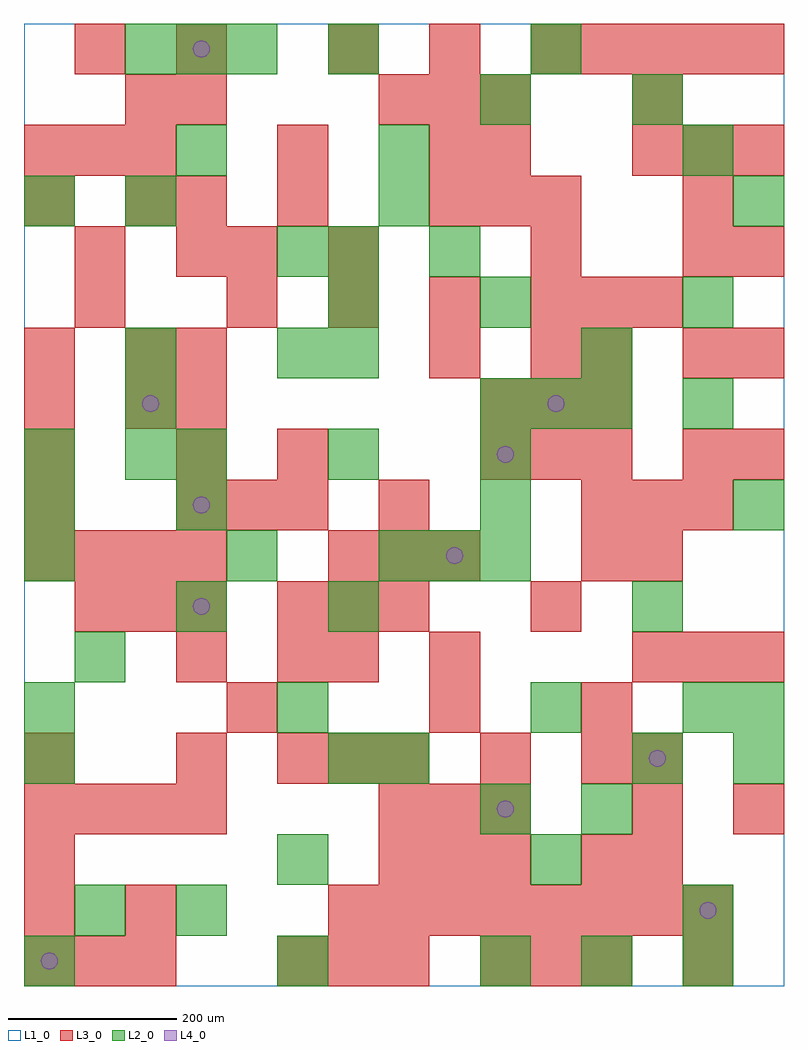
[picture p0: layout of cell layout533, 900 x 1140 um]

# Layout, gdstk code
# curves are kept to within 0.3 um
import gdstk
lib = gdstk.Library(unit=1e-6, precision=1e-09)
def R(c, l, rs):  # rectangles x0, y0, x1, y1
    for r in rs: c.add(gdstk.rectangle(r[:2], r[2:], *l))
def A(c, l, x, y, w, h, nx, ny, dx, dy):  # array of equal rectangles
    R(c, l, [(x+i*dx, y+j*dy, x+i*dx+w, y+j*dy+h) for i in range(nx) for j in range(ny)])
def P(c, l, *ps):  # polygons
    for p in ps: c.add(gdstk.Polygon(p, *l))
L1_0 = (1, 0)
L2_0 = (2, 0)
L3_0 = (3, 0)
L4_0 = (4, 0)

layout533 = lib.new_cell('layout533')
R(layout533, L1_0, [(0,0,900,1140)])
A(layout533, L2_0, 0, 0, 60, 60, 1, 3, 0, 240)
A(layout533, L2_0, 540, 0, 60, 60, 3, 1, 120, 0)
A(layout533, L2_0, 0, 300, 60, 60, 3, 1, 300, 0)
A(layout533, L2_0, 420, 480, 60, 60, 3, 1, 60, 0)
A(layout533, L2_0, 540, 540, 60, 60, 1, 3, 0, 240)
A(layout533, L2_0, 120, 600, 60, 60, 1, 3, 0, 60)
A(layout533, L2_0, 180, 600, 60, 60, 3, 1, 180, 0)
A(layout533, L2_0, 540, 660, 60, 60, 3, 1, 60, 0)
A(layout533, L2_0, 360, 720, 60, 60, 1, 3, 0, 60)
A(layout533, L2_0, 120, 1080, 60, 60, 3, 1, 60, 0)
R(layout533, L2_0, [(300,0,360,60), (60,60,120,120), (180,60,240,120), (780,60,840,120), (300,120,360,180), (600,120,660,180), (540,180,600,240), (660,180,720,240), (360,240,420,300), (420,240,480,300), (720,240,780,300), (840,240,900,300), (780,300,840,360), (840,300,900,360), (60,360,120,420), (180,420,240,480), (360,420,420,480), (720,420,780,480), (240,480,300,540), (0,540,60,600), (180,540,240,600), (840,540,900,600), (0,600,60,660), (780,660,840,720), (300,720,360,780), (660,720,720,780), (780,780,840,840), (300,840,360,900), (480,840,540,900), (0,900,60,960), (120,900,180,960), (420,900,480,960), (840,900,900,960), (180,960,240,1020), (420,960,480,1020), (780,960,840,1020), (720,1020,780,1080), (360,1080,420,1140), (600,1080,660,1140)])
A(layout533, L3_0, 0, 0, 60, 60, 3, 2, 60, 960)
A(layout533, L3_0, 300, 0, 60, 60, 3, 2, 60, 240)
A(layout533, L3_0, 540, 0, 60, 60, 3, 2, 60, 600)
A(layout533, L3_0, 360, 60, 60, 60, 8, 1, 60, 0)
A(layout533, L3_0, 420, 120, 60, 60, 3, 2, 60, 60)
A(layout533, L3_0, 720, 120, 60, 60, 1, 3, 0, 60)
A(layout533, L3_0, 0, 180, 60, 60, 4, 2, 60, 300)
A(layout533, L3_0, 720, 360, 60, 60, 3, 2, 60, 600)
A(layout533, L3_0, 60, 420, 60, 60, 3, 1, 60, 0)
A(layout533, L3_0, 300, 420, 60, 60, 3, 1, 60, 0)
A(layout533, L3_0, 360, 480, 60, 60, 3, 1, 60, 0)
A(layout533, L3_0, 0, 540, 60, 60, 1, 4, 0, 60)
A(layout533, L3_0, 180, 540, 60, 60, 3, 1, 60, 0)
A(layout533, L3_0, 660, 540, 60, 60, 3, 1, 60, 0)
A(layout533, L3_0, 180, 600, 60, 60, 1, 3, 0, 60)
A(layout533, L3_0, 780, 600, 60, 60, 1, 3, 0, 120)
A(layout533, L3_0, 840, 600, 60, 60, 1, 3, 0, 120)
A(layout533, L3_0, 540, 660, 60, 60, 3, 1, 60, 0)
A(layout533, L3_0, 240, 780, 60, 60, 4, 1, 120, 0)
A(layout533, L3_0, 480, 900, 60, 60, 3, 1, 60, 0)
A(layout533, L3_0, 420, 1020, 60, 60, 3, 1, 60, 0)
A(layout533, L3_0, 360, 1080, 60, 60, 3, 1, 120, 0)
A(layout533, L3_0, 660, 1080, 60, 60, 4, 1, 60, 0)
R(layout533, L3_0, [(780,0,840,60), (0,60,60,120), (120,60,180,120), (0,120,60,180), (660,120,720,180), (840,180,900,240), (0,240,60,300), (180,240,240,300), (540,240,600,300), (660,240,720,300), (240,300,300,360), (480,300,540,360), (660,300,720,360), (180,360,240,420), (300,360,360,420), (360,360,420,420), (480,360,540,420), (600,420,660,480), (660,480,720,540), (720,480,780,540), (420,540,480,600), (300,600,360,660), (120,660,180,720), (120,720,180,780), (480,720,540,780), (600,720,660,780), (660,720,720,780), (60,780,120,840), (660,780,720,840), (720,780,780,840), (60,840,120,900), (180,840,240,900), (240,840,300,900), (360,840,420,900), (600,840,660,900), (0,900,60,960), (120,900,180,960), (180,900,240,960), (300,900,360,960), (780,900,840,960), (300,960,360,1020), (480,960,540,1020), (540,960,600,1020), (120,1020,180,1080), (180,1020,240,1080), (720,1020,780,1080), (60,1080,120,1140), (180,1080,240,1140)])
P(layout533, L4_0, [(40,30),(39.239,33.827),(37.071,37.071),(33.827,39.239),(30,40),(26.173,39.239),(22.929,37.071),(20.761,33.827),(20,30),(20.761,26.173),(22.929,22.929),(26.173,20.761),(30,20),(33.827,20.761),(37.071,22.929),(39.239,26.173)],
  [(160,690),(159.239,693.827),(157.071,697.071),(153.827,699.239),(150,700),(146.173,699.239),(142.929,697.071),(140.761,693.827),(140,690),(140.761,686.173),(142.929,682.929),(146.173,680.761),(150,680),(153.827,680.761),(157.071,682.929),(159.239,686.173)],
  [(220,450),(219.239,453.827),(217.071,457.071),(213.827,459.239),(210,460),(206.173,459.239),(202.929,457.071),(200.761,453.827),(200,450),(200.761,446.173),(202.929,442.929),(206.173,440.761),(210,440),(213.827,440.761),(217.071,442.929),(219.239,446.173)],
  [(220,570),(219.239,573.827),(217.071,577.071),(213.827,579.239),(210,580),(206.173,579.239),(202.929,577.071),(200.761,573.827),(200,570),(200.761,566.173),(202.929,562.929),(206.173,560.761),(210,560),(213.827,560.761),(217.071,562.929),(219.239,566.173)],
  [(220,1110),(219.239,1113.827),(217.071,1117.071),(213.827,1119.239),(210,1120),(206.173,1119.239),(202.929,1117.071),(200.761,1113.827),(200,1110),(200.761,1106.173),(202.929,1102.929),(206.173,1100.761),(210,1100),(213.827,1100.761),(217.071,1102.929),(219.239,1106.173)],
  [(520,510),(519.239,513.827),(517.071,517.071),(513.827,519.239),(510,520),(506.173,519.239),(502.929,517.071),(500.761,513.827),(500,510),(500.761,506.173),(502.929,502.929),(506.173,500.761),(510,500),(513.827,500.761),(517.071,502.929),(519.239,506.173)],
  [(580,210),(579.239,213.827),(577.071,217.071),(573.827,219.239),(570,220),(566.173,219.239),(562.929,217.071),(560.761,213.827),(560,210),(560.761,206.173),(562.929,202.929),(566.173,200.761),(570,200),(573.827,200.761),(577.071,202.929),(579.239,206.173)],
  [(580,630),(579.239,633.827),(577.071,637.071),(573.827,639.239),(570,640),(566.173,639.239),(562.929,637.071),(560.761,633.827),(560,630),(560.761,626.173),(562.929,622.929),(566.173,620.761),(570,620),(573.827,620.761),(577.071,622.929),(579.239,626.173)],
  [(640,690),(639.239,693.827),(637.071,697.071),(633.827,699.239),(630,700),(626.173,699.239),(622.929,697.071),(620.761,693.827),(620,690),(620.761,686.173),(622.929,682.929),(626.173,680.761),(630,680),(633.827,680.761),(637.071,682.929),(639.239,686.173)],
  [(760,270),(759.239,273.827),(757.071,277.071),(753.827,279.239),(750,280),(746.173,279.239),(742.929,277.071),(740.761,273.827),(740,270),(740.761,266.173),(742.929,262.929),(746.173,260.761),(750,260),(753.827,260.761),(757.071,262.929),(759.239,266.173)],
  [(820,90),(819.239,93.827),(817.071,97.071),(813.827,99.239),(810,100),(806.173,99.239),(802.929,97.071),(800.761,93.827),(800,90),(800.761,86.173),(802.929,82.929),(806.173,80.761),(810,80),(813.827,80.761),(817.071,82.929),(819.239,86.173)])

lib.write_gds('layout533.gds')
